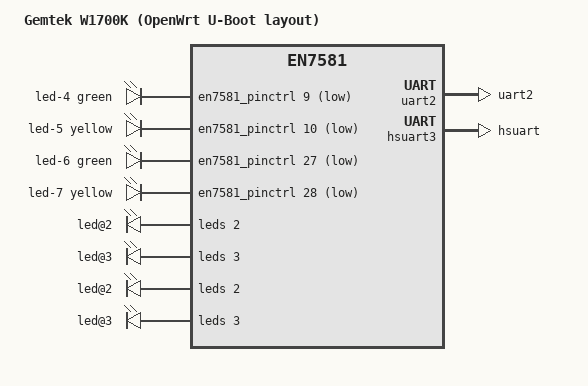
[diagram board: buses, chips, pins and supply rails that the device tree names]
// SPDX-License-Identifier: GPL-2.0-or-later OR MIT

/dts-v1/;

#include "an7581-gemtek_w1700k-common.dtsi"

/ {
	model = "Gemtek W1700K (OpenWrt U-Boot layout)";
	compatible = "gemtek,w1700k-ubi", "airoha,an7581", "airoha,en7581";

	leds {
		led-4 {
			color = <LED_COLOR_ID_GREEN>;
			function = LED_FUNCTION_LAN;
			function-enumerator = <3>;
			gpios = <&en7581_pinctrl 9 GPIO_ACTIVE_LOW>;
		};

		led-5 {
			color = <LED_COLOR_ID_YELLOW>;
			function = LED_FUNCTION_LAN;
			function-enumerator = <3>;
			gpios = <&en7581_pinctrl 10 GPIO_ACTIVE_LOW>;
		};

		led-6 {
			color = <LED_COLOR_ID_GREEN>;
			function = LED_FUNCTION_LAN;
			function-enumerator = <4>;
			gpios = <&en7581_pinctrl 27 GPIO_ACTIVE_LOW>;
		};

		led-7 {
			color = <LED_COLOR_ID_YELLOW>;
			function = LED_FUNCTION_LAN;
			function-enumerator = <4>;
			gpios = <&en7581_pinctrl 28 GPIO_ACTIVE_LOW>;
		};
	};
};

&en7581_pinctrl {
	uart2_pins: uart2-pins {
		mux {
			function = "uart";
			groups = "uart2";
		};
	};

	hsuart_pins: hsuart-pins {
		mux {
			function = "uart";
			groups = "hsuart";
		};
	};
};

&phy5 {
	leds {
		#address-cells = <1>;
		#size-cells = <0>;

		led@2 {
			reg = <2>;
			color = <LED_COLOR_ID_YELLOW>;
			function = LED_FUNCTION_LAN;
			function-enumerator = <2>;
		};

		led@3 {
			reg = <3>;
			color = <LED_COLOR_ID_GREEN>;
			function = LED_FUNCTION_LAN;
			function-enumerator = <2>;
		};
	};
};

&phy8 {
	leds {
		#address-cells = <1>;
		#size-cells = <0>;

		led@2 {
			reg = <2>;
			color = <LED_COLOR_ID_YELLOW>;
			function = LED_FUNCTION_WAN;
		};

		led@3 {
			reg = <3>;
			color = <LED_COLOR_ID_GREEN>;
			function = LED_FUNCTION_WAN;
		};
	};
};

&uart2 {
	status = "okay";
	pinctrl-names = "default";
	pinctrl-0 = <&uart2_pins>;
};

&hsuart3 {
	status = "okay";
	pinctrl-names = "default";
	pinctrl-0 = <&hsuart_pins>;
};
